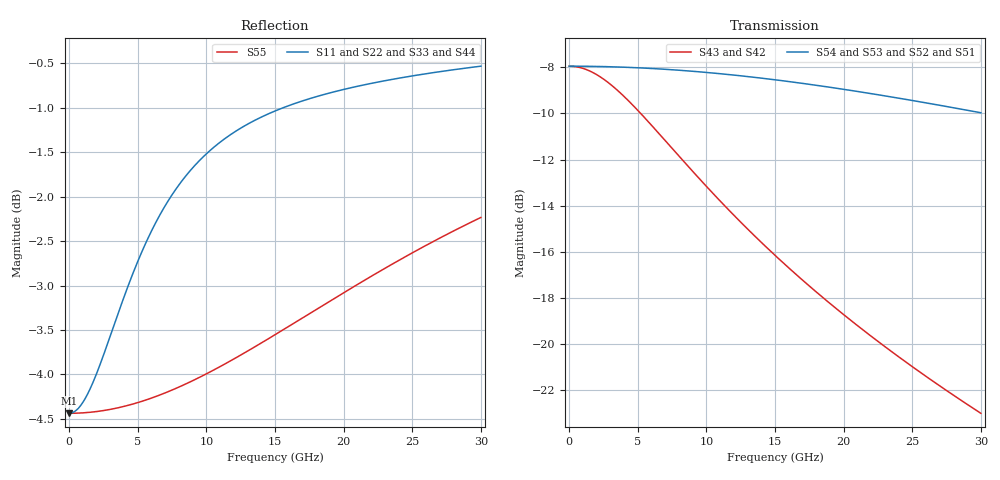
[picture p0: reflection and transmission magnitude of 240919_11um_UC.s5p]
! Created Thu Sep 19 17:35:40 2024
# hz S ma R 50
! 5 Port Network Data from SP1.SP block
! freq  magS11  angS11  magS12  angS12  magS13  angS13  magS14  angS14
!  magS15  angS15
!  magS21  angS21  magS22  angS22  magS23  angS23
!  magS24  angS24  magS25  angS25
!  magS31  angS31  magS32  angS32
!  magS33  angS33  magS34  angS34  magS35  angS35
!  magS41  angS41
!  magS42  angS42  magS43  angS43  magS44  angS44  magS45  angS45
!  magS51  angS51  magS52  angS52  magS53  angS53  magS54  angS54
!  magS55  angS55
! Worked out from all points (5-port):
!   1001 points, 10 Hz to 30 GHz, reference 50 ohm
!   strongest paths, dB at 10 Hz, 7.5 GHz, 15 GHz, 22.5 GHz, 30 GHz:
!     S54: -8.0, -8.1, -8.5, -9.2, -10.0
!     S53: -8.0, -8.1, -8.5, -9.2, -10.0
!     S52: -8.0, -8.1, -8.5, -9.2, -10.0
!     S51: -8.0, -8.1, -8.5, -9.2, -10.0
!     S43: -8.0, -11.5, -16.1, -19.9, -23.0
!     S42: -8.0, -11.5, -16.1, -19.9, -23.0
!   lowest |S11| = -4.4 dB at 10 Hz (marker M1), VSWR 4.00, Z = 12.5 + j2.87e-15 ohm
!   |S11| at or under -10 dB: nowhere
